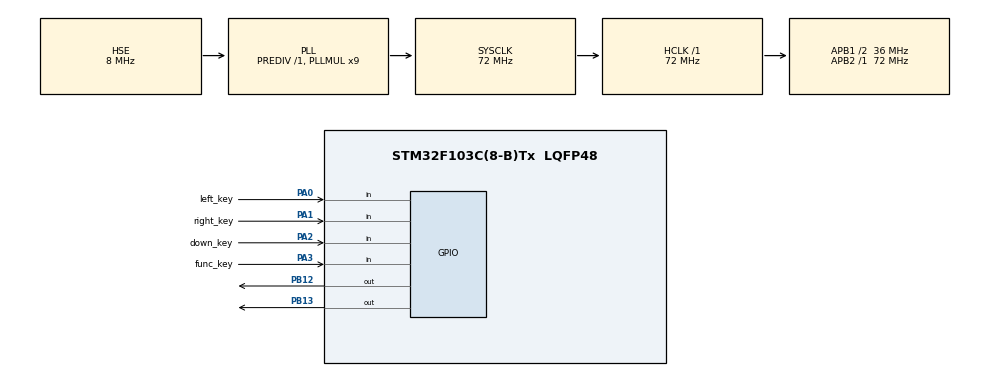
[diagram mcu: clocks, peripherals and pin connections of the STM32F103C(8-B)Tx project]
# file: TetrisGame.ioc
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Mcu.Family=STM32F1
Mcu.Name=STM32F103C(8-B)Tx
Mcu.Package=LQFP48
NVIC.PriorityGroup=NVIC_PRIORITYGROUP_4
PA0-WKUP.GPIO_Label=left_key
PA0-WKUP.GPIO_PuPd=GPIO_PULLUP
PA0-WKUP.Signal=GPIO_Input
PA1.GPIO_Label=right_key
PA1.GPIO_PuPd=GPIO_PULLUP
PA1.Signal=GPIO_Input
PA13.Mode=Serial_Wire
PA13.Signal=SYS_JTMS-SWDIO
PA14.Mode=Serial_Wire
PA14.Signal=SYS_JTCK-SWCLK
PA2.GPIO_Label=down_key
PA2.GPIO_PuPd=GPIO_PULLUP
PA2.Signal=GPIO_Input
PA3.GPIO_Label=func_key
PA3.Signal=GPIO_Input
PB12.Signal=GPIO_Output
PB13.Signal=GPIO_Output
PD0-OSC_IN.Mode=HSE-External-Oscillator
PD0-OSC_IN.Signal=RCC_OSC_IN
PD1-OSC_OUT.Mode=HSE-External-Oscillator
PD1-OSC_OUT.Signal=RCC_OSC_OUT
ProjectManager.HeapSize=0x200
ProjectManager.StackSize=0x400
ProjectManager.TargetToolchain=STM32CubeIDE
RCC.AHBFreq_Value=72000000
RCC.APB1CLKDivider=RCC_HCLK_DIV2
RCC.APB1Freq_Value=36000000
RCC.APB1TimFreq_Value=72000000
RCC.APB2Freq_Value=72000000
RCC.APB2TimFreq_Value=72000000
RCC.HCLKFreq_Value=72000000
RCC.PLLMUL=RCC_PLL_MUL9
RCC.PLLSourceVirtual=RCC_PLLSOURCE_HSE
RCC.SYSCLKFreq_VALUE=72000000
RCC.SYSCLKSource=RCC_SYSCLKSOURCE_PLLCLK
RCC.USBFreq_Value=72000000
board=custom

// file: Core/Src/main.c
/* USER CODE BEGIN Header */
/**
  ******************************************************************************
  * @file           : main.c
  * @brief          : Main program body

		����STM32�Ķ���˹������Ϸ

		1. ��Ƭ���ͺţ�STM32F103C8T6
		2. ��ʾ���ͺţ�0.96��OLED��SSD1306
		3. IO���ӹ�ϵ
		OLED SCL  ----  PB12
		OLED SDA  ----  PB13
		left      ----  PA0
		right     ----  PA1
		down      ----  PA2
		f         ----  PA3  (���ܰ�������ʼ��Ϸ������ת)

		4. ��ע Bվ�����������֡�΢�Ź��ں� ��JL��Ƭ���������Բ鿴����˹�������ʾЧ����
		5. ��ע Bվ�����������֡�΢�Ź��ں� ��JL��Ƭ��������ȡ������Ȥ�Ŀ�Դ��Ƭ�����롣

  ******************************************************************************
  * @attention
  *
  * Copyright (c) 2023 STMicroelectronics.
  * All rights reserved.
  *
  * This software is licensed under terms that can be found in the LICENSE file
  * in the root directory of this software component.
  * If no LICENSE file comes with this software, it is provided AS-IS.
  *
  ******************************************************************************
  */
/* USER CODE END Header */
#include "main.h"
#include "gpio.h"

/* USER CODE BEGIN Includes */
#include "oled12864.h"
#include "spritebank.h"
/* USER CODE END Includes */

void SystemClock_Config(void);

/* USER CODE BEGIN 0 */
// ===================================================================================
// Global Variables
// ===================================================================================
unsigned char Grid_TTRIS[12][3] = {{0}};
unsigned char MEM_TTTRIS[16] = {0, 2, 0, 4, 3, 7, 6, 9, 9, 12, 11, 15, 14, 17, 17, 19};
unsigned char Level_TTRIS;
unsigned int Scores_TTRIS;
unsigned int Nb_of_line_F_TTRIS;
unsigned char Level_Speed_ADJ_TTRIS;
unsigned char Nb_of_line_TTRIS[3];
unsigned char RND_VAR_TTRIS;
unsigned char LONG_PRESS_X_TTRIS;
unsigned char DOWN_DESACTIVE_TTRIS;
unsigned char DROP_SPEED_TTRIS;
unsigned char SPEED_x_trig_TTRIS;
unsigned char DROP_TRIG_TTRIS;
int xx_TTRIS, yy_TTRIS;
unsigned char Piece_Mat2_TTRIS[5][5];
unsigned char Ripple_filter_TTRIS;
unsigned char PIECEs_TTRIS;
unsigned char PIECEs_TTRIS_PREVIEW;
unsigned char PIECEs_rot_TTRIS;
unsigned char DROP_BREAK_TTRIS;
int OU_SUIS_JE_X_TTRIS;
int OU_SUIS_JE_Y_TTRIS;
unsigned char OU_SUIS_JE_X_ENGAGED_TTRIS;
unsigned char OU_SUIS_JE_Y_ENGAGED_TTRIS;
int DEPLACEMENT_XX_TTRIS;
int DEPLACEMENT_YY_TTRIS;

#define JOY_OLED_data_start(y)    {OLED_SetPos(0,y);OLED_data_start();}
#define JOY_OLED_send(b)          {IIC_WriteByte(b);IIC_WaitAck();}
#define JOY_OLED_end              IIC_Stop

// ===================================================================================
// Function Prototypes
// ===================================================================================
void reset_Score_TTRIS(void);
unsigned char PSEUDO_RND_TTRIS(void);
void SND_TTRIS(unsigned char Snd_TTRIS);
void INTRO_MANIFEST_TTRIS(void);
void END_DROP_TTRIS(void);
void SETUP_NEW_PREVIEW_PIECE_TTRIS(unsigned char *Rot_TTRIS);
void CONTROLE_TTRIS(unsigned char *Rot_TTRIS);
void Game_Play_TTRIS(void);
unsigned char End_Play_TTRIS(void);
void DELETE_LINE_TTRIS(void);
unsigned char Calcul_of_Score_TTRIS(unsigned char Tmp_TTRIS);
void FLASH_LINE_TTRIS(unsigned char *PASS_LINE);
void PAINT_LINE_TTRIS(unsigned char VISIBLE, unsigned char *PASS_LINE);
void Clean_Grid_TTRIS(unsigned char *PASS_LINE);
unsigned char CHECK_if_Rot_Ok_TTRIS(unsigned char *Rot_TTRIS);
unsigned char Check_collision_x_TTRIS(int x_Axe);
unsigned char Check_collision_y_TTRIS(int y_Axe);
void Move_Piece_TTRIS(void);
void Ou_suis_Je_TTRIS(int xx_, int yy_);
void Select_Piece_TTRIS(unsigned char Piece_);
void rotate_Matrix_TTRIS(unsigned char ROT);
unsigned char Scan_Piece_Matrix_TTRIS(int x_Mat, int y_Mat);
unsigned char GRID_STAT_TTRIS(int X_SCAN, int Y_SCAN);
unsigned char CHANGE_GRID_STAT_TTRIS(int X_SCAN, int Y_SCAN, unsigned char VALUE);
unsigned char blitzSprite_TTRIS(int xPos, int yPos, unsigned char xPASS, unsigned char yPASS, unsigned char FRAME, const unsigned char *SPRITES);
unsigned char H_grid_Scan_TTRIS(unsigned char xPASS);
unsigned char Recupe_TTRIS(unsigned char xPASS, unsigned char yPASS);
unsigned char NEXT_BLOCK_TTRIS(unsigned char xPASS, unsigned char yPASS);
unsigned char RECUPE_BACKGROUND_TTRIS(unsigned char xPASS, unsigned char yPASS);
unsigned char DropPiece_TTRIS(unsigned char xPASS, unsigned char yPASS);
unsigned char SplitSpriteDecalageY_TTRIS(unsigned char decalage, unsigned char Input, unsigned char UPorDOWN);
unsigned char RecupeLineY_TTRIS(unsigned char Valeur);
unsigned char RecupeDecalageY_TTRIS(unsigned char Valeur);
void Tiny_Flip_TTRIS(unsigned char HR_TTRIS);
void Flip_intro_TTRIS(unsigned char *TIMER1);
unsigned char intro_TTRIS(unsigned char xPASS, unsigned char yPASS, unsigned char *TIMER1);
unsigned char Recupe_Start_TTRIS(unsigned char xPASS, unsigned char yPASS, unsigned char *TIMER1);
unsigned char recupe_Chateau_TTRIS(unsigned char xPASS, unsigned char yPASS);
unsigned char recupe_SCORES_TTRIS(unsigned char xPASS, unsigned char yPASS);
void Convert_Nb_of_line_TTRIS(void);
unsigned char recupe_Nb_of_line_TTRIS(unsigned char xPASS, unsigned char yPASS);
unsigned char recupe_LEVEL_TTRIS(unsigned char xPASS, unsigned char yPASS);
void INIT_ALL_VAR_TTRIS(void);
void recupe_HIGHSCORE_TTRIS(void);
void Reset_Value_TTRIS(void);
void save_HIGHSCORE_TTRIS(void);
void Check_NEW_RECORD(void);
unsigned char checksum(unsigned char Byte_);

void JOY_DLY_ms(int ms)
{
	HAL_Delay(ms);
}

unsigned char JOY_act_pressed()
{
	if(HAL_GPIO_ReadPin(func_key_GPIO_Port, func_key_Pin)==0)
		return 1;
	return 0;
}

unsigned char JOY_left_pressed()
{
	if(HAL_GPIO_ReadPin(left_key_GPIO_Port, left_key_Pin)==0)
	{
		HAL_Delay(5);
		if(HAL_GPIO_ReadPin(left_key_GPIO_Port, left_key_Pin)==0) return 1;
	}

	return 0;
}

unsigned char JOY_right_pressed()
{
	if(HAL_GPIO_ReadPin(right_key_GPIO_Port, right_key_Pin)==0)
	{
		HAL_Delay(5);
		if(HAL_GPIO_ReadPin(right_key_GPIO_Port, right_key_Pin)==0)  return 1;
	}

	return 0;
}

unsigned char JOY_act_released()
{

	if(HAL_GPIO_ReadPin(func_key_GPIO_Port, func_key_Pin)==0)
		return 0;
	return 1;

}

unsigned char JOY_down_pressed()
{
	if(HAL_GPIO_ReadPin(down_key_GPIO_Port, down_key_Pin)==0)
		return 1;
	return 0;
}

// Additional Defines
#define abs(n) ((n>=0)?(n):(-(n)))

long map(long x, long in_min, long in_max, long out_min, long out_max) {
  return (x - in_min) * (out_max - out_min) / (in_max - in_min) + out_min;
}
/* USER CODE END 0 */

int main(void)
{

  /* MCU Configuration--------------------------------------------------------*/

  /* Reset of all peripherals, Initializes the Flash interface and the Systick. */
  HAL_Init();

  /* Configure the system clock */
  SystemClock_Config();

  /* Initialize all configured peripherals */
  MX_GPIO_Init();
  /* USER CODE BEGIN 2 */
	OLED_Init();
	Reset_Value_TTRIS();

  /* USER CODE END 2 */

  /* Infinite loop */
  /* USER CODE BEGIN WHILE */
  while (1)
  {
    unsigned char Rot_TTRIS = 0;
    unsigned char SKIP_FRAME = 0;
    INIT_ALL_VAR_TTRIS();
    Game_Play_TTRIS();
    Ou_suis_Je_TTRIS(xx_TTRIS, yy_TTRIS);

    INTRO_MANIFEST_TTRIS();

    SETUP_NEW_PREVIEW_PIECE_TTRIS(&Rot_TTRIS);
    Tiny_Flip_TTRIS(128);
    JOY_DLY_ms(1000);
    xx_TTRIS = 55;
    yy_TTRIS = 5;

    while (1)
    {
			// 在此处添加代码以设置PA7为高电平
			HAL_GPIO_WritePin(GPIOA, GPIO_PIN_7, GPIO_PIN_SET);
      CONTROLE_TTRIS(&Rot_TTRIS);
      if (DROP_BREAK_TTRIS == 6)
      {
        END_DROP_TTRIS();
        if (End_Play_TTRIS())
        {
          Tiny_Flip_TTRIS(128);
          SND_TTRIS(3);
          JOY_DLY_ms(2000);
          Check_NEW_RECORD();
          break;
        }
        yy_TTRIS = 2;
        xx_TTRIS = 55;
        PIECEs_TTRIS = PIECEs_TTRIS_PREVIEW;
        SETUP_NEW_PREVIEW_PIECE_TTRIS(&Rot_TTRIS);
        DOWN_DESACTIVE_TTRIS = 1;
        Tiny_Flip_TTRIS(128);
        Game_Play_TTRIS();
        Tiny_Flip_TTRIS(128);
      }

      if ((JOY_act_pressed()) && (Ripple_filter_TTRIS == 0))
      {
        PSEUDO_RND_TTRIS();
        Ripple_filter_TTRIS = 1;
      }

      Move_Piece_TTRIS();
      if (SKIP_FRAME == 6)
      {
        Tiny_Flip_TTRIS(82);
        SKIP_FRAME = 0;
      }
      else
      {
        SKIP_FRAME++;
      }
    }
    /* USER CODE END WHILE */

  }
}

void SystemClock_Config(void)
{
  RCC_OscInitTypeDef RCC_OscInitStruct = {0};
  RCC_ClkInitTypeDef RCC_ClkInitStruct = {0};

  /** Initializes the RCC Oscillators according to the specified parameters
  * in the RCC_OscInitTypeDef structure.
  */
  RCC_OscInitStruct.OscillatorType = RCC_OSCILLATORTYPE_HSE;
  RCC_OscInitStruct.HSEState = RCC_HSE_ON;
  RCC_OscInitStruct.HSEPredivValue = RCC_HSE_PREDIV_DIV1;
  RCC_OscInitStruct.HSIState = RCC_HSI_ON;
  RCC_OscInitStruct.PLL.PLLState = RCC_PLL_ON;
  RCC_OscInitStruct.PLL.PLLSource = RCC_PLLSOURCE_HSE;
  RCC_OscInitStruct.PLL.PLLMUL = RCC_PLL_MUL9;
  if (HAL_RCC_OscConfig(&RCC_OscInitStruct) != HAL_OK)
  {
    Error_Handler();
  }

  /** Initializes the CPU, AHB and APB buses clocks
  */
  RCC_ClkInitStruct.ClockType = RCC_CLOCKTYPE_HCLK|RCC_CLOCKTYPE_SYSCLK
                              |RCC_CLOCKTYPE_PCLK1|RCC_CLOCKTYPE_PCLK2;
  RCC_ClkInitStruct.SYSCLKSource = RCC_SYSCLKSOURCE_PLLCLK;
  RCC_ClkInitStruct.AHBCLKDivider = RCC_SYSCLK_DIV1;
  RCC_ClkInitStruct.APB1CLKDivider = RCC_HCLK_DIV2;
  RCC_ClkInitStruct.APB2CLKDivider = RCC_HCLK_DIV1;

  if (HAL_RCC_ClockConfig(&RCC_ClkInitStruct, FLASH_LATENCY_2) != HAL_OK)
  {
    Error_Handler();
  }
}

/* USER CODE BEGIN 4 */
// ===================================================================================
// Functions
// ===================================================================================
void reset_Score_TTRIS(void)
{
	unsigned char x = 0;
  for (x = 0; x < 3; x++)
  {
    Nb_of_line_TTRIS[x] = 0;
  }
  Level_TTRIS = 0;
  Scores_TTRIS = 0;
  Nb_of_line_F_TTRIS = 0;
}

unsigned char PSEUDO_RND_TTRIS(void)
{
  RND_VAR_TTRIS = (RND_VAR_TTRIS < 6) ? RND_VAR_TTRIS + 1 : 0;
  return RND_VAR_TTRIS;
}

void SND_TTRIS(unsigned char Snd_TTRIS)
{

}

void INTRO_MANIFEST_TTRIS(void)
{
  unsigned char TIMER_1 = 0;
  recupe_HIGHSCORE_TTRIS();
  Convert_Nb_of_line_TTRIS();
  Flip_intro_TTRIS(&TIMER_1);
  while (1)
  {
    PIECEs_TTRIS = PSEUDO_RND_TTRIS();
    if (JOY_act_pressed())
    {
      reset_Score_TTRIS();
      break;
    }
    JOY_DLY_ms(33);
    TIMER_1 = (TIMER_1 < 7) ? TIMER_1 + 1 : 0;
    Flip_intro_TTRIS(&TIMER_1);
  }
  SND_TTRIS(4);
}

void END_DROP_TTRIS(void)
{
  unsigned char x, y;
  DROP_BREAK_TTRIS = 0;
  for (y = 0; y < 5; y++)
  {
    for (x = 0; x < 5; x++)
    {
      if (Piece_Mat2_TTRIS[x][y] == 1)
      {
        CHANGE_GRID_STAT_TTRIS(OU_SUIS_JE_X_TTRIS + (x), OU_SUIS_JE_Y_TTRIS + (y), 1);
      }
    }
  }
  Scores_TTRIS = (OU_SUIS_JE_Y_TTRIS < 9) ? Scores_TTRIS + 2 : Scores_TTRIS + 1;
  yy_TTRIS = 0;
  xx_TTRIS = 0;
  DELETE_LINE_TTRIS();
  Convert_Nb_of_line_TTRIS();
}

void SETUP_NEW_PREVIEW_PIECE_TTRIS(unsigned char *Rot_TTRIS)
{
  PIECEs_TTRIS_PREVIEW = PSEUDO_RND_TTRIS();
  Select_Piece_TTRIS(PIECEs_TTRIS);
  *Rot_TTRIS = 0;
  rotate_Matrix_TTRIS(*Rot_TTRIS);
}

void CONTROLE_TTRIS(unsigned char *Rot_TTRIS)
{
  if ((OU_SUIS_JE_X_ENGAGED_TTRIS == 0))
  {
    if (SPEED_x_trig_TTRIS == 0)
    {
      if (JOY_right_pressed())
      {
        if (LONG_PRESS_X_TTRIS == 0)
        {
          SND_TTRIS(1);
        }
        if ((LONG_PRESS_X_TTRIS == 0) || (LONG_PRESS_X_TTRIS == 20))
        {
          DEPLACEMENT_XX_TTRIS = 1;
          SPEED_x_trig_TTRIS = 2;
        }
        if (LONG_PRESS_X_TTRIS < 20)
        {
          LONG_PRESS_X_TTRIS++;
        }
      }
      if (JOY_left_pressed())
      {
        if (LONG_PRESS_X_TTRIS == 0)
        {
          SND_TTRIS(1);
        }
        if ((LONG_PRESS_X_TTRIS == 0) || (LONG_PRESS_X_TTRIS == 20))
        {
          DEPLACEMENT_XX_TTRIS = -1;
          SPEED_x_trig_TTRIS = 2;
        }
        if (LONG_PRESS_X_TTRIS < 20)
        {
          LONG_PRESS_X_TTRIS++;
        }
      }
    }
    else
    {
      SPEED_x_trig_TTRIS = (SPEED_x_trig_TTRIS > 0) ? SPEED_x_trig_TTRIS - 1 : 0;
    }
  }
  if ((JOY_right_pressed() == 0) && (JOY_left_pressed() == 0))
  {
    LONG_PRESS_X_TTRIS = 0;
    PSEUDO_RND_TTRIS();
  }

  if (JOY_act_released())
  {
    if ((OU_SUIS_JE_X_ENGAGED_TTRIS == 0) && (OU_SUIS_JE_Y_ENGAGED_TTRIS == 0))
    {
      Ripple_filter_TTRIS = 0;
    }
  }
  if ((Ripple_filter_TTRIS == 1))
  {
    CHECK_if_Rot_Ok_TTRIS(Rot_TTRIS);
    Ripple_filter_TTRIS = 2;
  }
  if (OU_SUIS_JE_Y_ENGAGED_TTRIS == 0)
  {
    DROP_TRIG_TTRIS--;
    if (DROP_TRIG_TTRIS == 0)
    {
      DEPLACEMENT_YY_TTRIS = 1;
      DROP_TRIG_TTRIS = Level_Speed_ADJ_TTRIS;
    }
  }
  if (DROP_SPEED_TTRIS > 0)
  {
    DROP_SPEED_TTRIS--;
  }
  else
  {
    DROP_SPEED_TTRIS = Level_Speed_ADJ_TTRIS;
  }
  if (JOY_down_pressed())
  {

    // ajouter cest 2 ligne
    if (OU_SUIS_JE_X_ENGAGED_TTRIS == 0)
    {
      DEPLACEMENT_XX_TTRIS = 0;
      LONG_PRESS_X_TTRIS = 1;
    } // ajouter cest 2 ligne

    PSEUDO_RND_TTRIS();
    if (DOWN_DESACTIVE_TTRIS == 0)
    {
      DEPLACEMENT_YY_TTRIS = 1;
      DROP_SPEED_TTRIS = 0;
    }
  }
  else
  {
    DOWN_DESACTIVE_TTRIS = 0;
  }
}

void Game_Play_TTRIS(void)
{
  unsigned char LEVEL_TMP = (Nb_of_line_F_TTRIS / 20);
  if (Level_TTRIS != LEVEL_TMP)
  {
    Level_TTRIS = LEVEL_TMP;
    SND_TTRIS(2);
  }
  if (Level_TTRIS < 21)
  {
    Level_Speed_ADJ_TTRIS = map(Level_TTRIS, 0, 20, 11, 1);
  }
}

unsigned char End_Play_TTRIS(void)
{
	unsigned char t = 0;
  for (t = 0; t < 12; t++)
  {
    if (GRID_STAT_TTRIS(t, 1) == 1)
    {
      return 1;
    }
  }
  return 0;
}

void DELETE_LINE_TTRIS(void)
{
  unsigned char LOOP, SCAN_Line, ADDs_Block, OK_DELETE = 0;
  unsigned char LINE_MEM[19] = {0};
  unsigned char Nb_of_Line_temp = 0;
  for (LOOP = 0; LOOP < 19; LOOP++)
  {
    ADDs_Block = 1;
    for (SCAN_Line = 0; SCAN_Line < 12; SCAN_Line++)
    {
      if (GRID_STAT_TTRIS(SCAN_Line, LOOP) == 0)
      {
        ADDs_Block = 0;
      }
    }
    if (ADDs_Block)
    {
      LINE_MEM[LOOP] = 1;
      OK_DELETE = 1;
    }
  }
  if (OK_DELETE == 1)
  {
    FLASH_LINE_TTRIS(&LINE_MEM[0]);
    Clean_Grid_TTRIS(&LINE_MEM[0]);
  }
  for (LOOP = 0; LOOP < 19; LOOP++)
  {
    if (LINE_MEM[LOOP] == 1)
    {
      Nb_of_Line_temp++;
    }
  }
  Nb_of_line_F_TTRIS = Nb_of_line_F_TTRIS + Nb_of_Line_temp;
  Scores_TTRIS = (Scores_TTRIS + Calcul_of_Score_TTRIS(Nb_of_Line_temp));
}

unsigned char Calcul_of_Score_TTRIS(unsigned char Tmp_TTRIS)
{
  switch (Tmp_TTRIS)
  {
  case 0:
    return 0;
    break;
  case 1:
    return 2;
    break;
  case 2:
    return 5;
    break;
  case 3:
    return 8;
    break;
  case 4:
    return 12;
    break;
  default:
    return 0;
    break;
  }
}

void FLASH_LINE_TTRIS(unsigned char *PASS_LINE)
{
  unsigned char LOOP;
  for (LOOP = 0; LOOP < 5; LOOP++)
  {
    PAINT_LINE_TTRIS(1, &PASS_LINE[0]);
    Tiny_Flip_TTRIS(82);

    PAINT_LINE_TTRIS(0, &PASS_LINE[0]);
    Tiny_Flip_TTRIS(82);
  }
  SND_TTRIS(5);
}

void PAINT_LINE_TTRIS(unsigned char VISIBLE, unsigned char *PASS_LINE)
{
  unsigned char LOOP, SCAN_Line;
  for (LOOP = 0; LOOP < 19; LOOP++)
  {
    if (PASS_LINE[LOOP] == 1)
    {
      for (SCAN_Line = 0; SCAN_Line < 12; SCAN_Line++)
      {
        CHANGE_GRID_STAT_TTRIS(SCAN_Line, LOOP, VISIBLE);
      }
    }
  }
}

void Clean_Grid_TTRIS(unsigned char *PASS_LINE)
{
  unsigned char GRID_2 = 18, GRID_1 = 18;
  unsigned char x;
  while (1)
  {
    if (PASS_LINE[GRID_1] == 1)
    {
      GRID_2 = GRID_1;
      GRID_2 = (GRID_2 > 0) ? GRID_2 - 1 : 0;
      break;
    }
    GRID_1 = (GRID_1 > 0) ? GRID_1 - 1 : 0;
  }
  while (1)
  {
    while (1)
    {
      if (PASS_LINE[GRID_2] == 1)
      {
        GRID_2 = (GRID_2 > 0) ? GRID_2 - 1 : 0;
      }
      else
      {
        break;
      }
    }
    for (x = 0; x < 12; x++)
    {
      CHANGE_GRID_STAT_TTRIS(x, GRID_1, (GRID_2 > 0) ? GRID_STAT_TTRIS(x, GRID_2) : 0);
    }
    GRID_1 = (GRID_1 > 0) ? GRID_1 - 1 : 0;
    GRID_2 = (GRID_2 > 0) ? GRID_2 - 1 : 0;
    if (GRID_1 == 0)
    {
      break;
    }
  }
}

unsigned char CHECK_if_Rot_Ok_TTRIS(unsigned char *Rot_TTRIS)
{
  unsigned char Mem_rot = *Rot_TTRIS;
  Ou_suis_Je_TTRIS(xx_TTRIS, yy_TTRIS);
  *Rot_TTRIS = (*Rot_TTRIS < PIECEs_rot_TTRIS) ? *Rot_TTRIS + 1 : 0;
  rotate_Matrix_TTRIS(*Rot_TTRIS);

  if ((Check_collision_x_TTRIS(OU_SUIS_JE_X_ENGAGED_TTRIS) || (Check_collision_y_TTRIS(OU_SUIS_JE_Y_ENGAGED_TTRIS))) != 0)
  {
    *Rot_TTRIS = Mem_rot;
    rotate_Matrix_TTRIS(*Rot_TTRIS);
    return 1;
  }
  SND_TTRIS(0);
  return 0;
}

unsigned char Check_collision_x_TTRIS(int x_Axe)
{
  unsigned char x, y;
  for (y = 0; y < 5; y++)
  {
    for (x = 0; x < 5; x++)
    {
      if (Piece_Mat2_TTRIS[x][y] == 1)
      {
        if (GRID_STAT_TTRIS((x + OU_SUIS_JE_X_TTRIS) + x_Axe, y + OU_SUIS_JE_Y_TTRIS))
        {
          return 1;
        }
      }
    }
  }
  return 0;
}

unsigned char Check_collision_y_TTRIS(int y_Axe)
{
  unsigned char x, y;
  for (y = 0; y < 5; y++)
  {
    for (x = 0; x < 5; x++)
    {
      if (Piece_Mat2_TTRIS[x][y] == 1)
      {
        if (GRID_STAT_TTRIS(x + OU_SUIS_JE_X_TTRIS, (y + OU_SUIS_JE_Y_TTRIS) + y_Axe))
        {
          return 1;
        }
      }
    }
  }
  return 0;
}

void Move_Piece_TTRIS(void)
{
  Ou_suis_Je_TTRIS(xx_TTRIS, yy_TTRIS);
  if (OU_SUIS_JE_X_ENGAGED_TTRIS == 0)
  {
    if (Check_collision_x_TTRIS(DEPLACEMENT_XX_TTRIS))
    {
      DEPLACEMENT_XX_TTRIS = 0;
    }
  }
  if (DEPLACEMENT_XX_TTRIS == 1)
  {
    xx_TTRIS++;
  }
  if (DEPLACEMENT_XX_TTRIS == -1)
  {
    xx_TTRIS--;
  }
  Ou_suis_Je_TTRIS(xx_TTRIS, yy_TTRIS);
  if (OU_SUIS_JE_X_ENGAGED_TTRIS == 0)
  {
    DEPLACEMENT_XX_TTRIS = 0;
  }

  if (Check_collision_y_TTRIS(DEPLACEMENT_YY_TTRIS))
  {
    DEPLACEMENT_YY_TTRIS = 0;
    LONG_PRESS_X_TTRIS = 0;
    Ripple_filter_TTRIS = 0;
    DROP_BREAK_TTRIS = 6;
    Tiny_Flip_TTRIS(82); // add line for refresh screen at drop
  }
  else
  {
    DROP_BREAK_TTRIS = 0;
  }
  if (DROP_SPEED_TTRIS == 0)
  {
    if (DEPLACEMENT_YY_TTRIS == -1)
    {
      yy_TTRIS--;
    }
    if (DEPLACEMENT_YY_TTRIS == 1)
    {
      yy_TTRIS++;
    }
  }
  Ou_suis_Je_TTRIS(xx_TTRIS, yy_TTRIS);
  if (OU_SUIS_JE_Y_ENGAGED_TTRIS == 0)
  {
    DEPLACEMENT_YY_TTRIS = 0;
  }
}

void Ou_suis_Je_TTRIS(int xx_, int yy_)
{
  int xx_t, yy_t;
  xx_t = (((xx_) + 9) - 46);
  yy_t = (((yy_) + 9) - 5);
  OU_SUIS_JE_X_TTRIS = ((xx_t / 3) - 3);
  if ((xx_t % 3) != 0)
  {
    OU_SUIS_JE_X_ENGAGED_TTRIS = 1;
  }
  else
  {
    OU_SUIS_JE_X_ENGAGED_TTRIS = 0;
  }
  OU_SUIS_JE_Y_TTRIS = ((yy_t / 3) - 3);
  if ((yy_t) != ((OU_SUIS_JE_Y_TTRIS + 3) * 3))
  {
    OU_SUIS_JE_Y_ENGAGED_TTRIS = 1;
  }
  else
  {
    OU_SUIS_JE_Y_ENGAGED_TTRIS = 0;
  }
}

void Select_Piece_TTRIS(unsigned char Piece_)
{
  PIECEs_TTRIS = Piece_;
  switch (Piece_)
  {
  case 0:
    PIECEs_rot_TTRIS = 3;
    break;
  case 1:
    PIECEs_rot_TTRIS = 0;
    break;
  case 2:
  case 3:
  case 4:
    PIECEs_rot_TTRIS = 1;
    break;
  case 5:
  case 6:
    PIECEs_rot_TTRIS = 3;
    break;
  default:
    PIECEs_rot_TTRIS = 0;
    break;
  }
}

void rotate_Matrix_TTRIS(unsigned char ROT)
{
  unsigned char a_ = 0, b_ = 0, y, x;
  for (y = 0; y < 5; y++)
  {
    for (x = 0; x < 5; x++)
    {
      switch (ROT)
      {
      case 0:
        a_ = x, b_ = y;
        break;
      case 1:
        a_ = 4 - y, b_ = x;
        break;
      case 2:
        a_ = 4 - x, b_ = 4 - y;
        break;
      case 3:
        a_ = y, b_ = 4 - x;
        break;
      default:
        break;
      }
      Piece_Mat2_TTRIS[a_][b_] = Scan_Piece_Matrix_TTRIS(x, y + (PIECEs_TTRIS * 5));
    }
  }
}

unsigned char Scan_Piece_Matrix_TTRIS(int x_Mat, int y_Mat)
{
  // unsigned char Result = (0b10000000 >> x_Mat) & (Pieces_TTRIS1[y_Mat]);
	unsigned char Result;
	Result = (0x80 >> x_Mat) & (Pieces_TTRIS1[y_Mat]);
  if (Result)
  {
    return 1;
  }
  else
  {
    return 0;
  }
  return 0;
}

unsigned char GRID_STAT_TTRIS(int X_SCAN, int Y_SCAN)
{
	unsigned char Y_VAR_SELECT, Y_VAR_DECALAGE, COMP_BYTE_DECALAGE;
  if (Y_SCAN < 0)
    return 0;
  if ((X_SCAN < 0) || (X_SCAN > 11))
  {
    return 1;
  }
  if (Y_SCAN > 18)
  {
    return 1;
  }
  Y_VAR_SELECT = Y_SCAN >> 3;
  Y_VAR_DECALAGE = RecupeDecalageY_TTRIS(Y_SCAN);
  COMP_BYTE_DECALAGE = (0x80 >> Y_VAR_DECALAGE);
	// COMP_BYTE_DECALAGE = (0b10000000 >> Y_VAR_DECALAGE);
  if ((COMP_BYTE_DECALAGE & Grid_TTRIS[X_SCAN][Y_VAR_SELECT]) == 0)
  {
    return 0;
  }
  else
  {
    return 1;
  }
  return 0;
}

unsigned char CHANGE_GRID_STAT_TTRIS(int X_SCAN, int Y_SCAN, unsigned char VALUE)
{

	unsigned char Y_VAR_SELECT, Y_VAR_DECALAGE, COMP_BYTE_DECALAGE;
  if ((X_SCAN < 0) || (X_SCAN > 11))
    return 0;
  if ((Y_SCAN < 0) || (Y_SCAN > 18))
    return 0;
  Y_VAR_SELECT = Y_SCAN >> 3;
  Y_VAR_DECALAGE = RecupeDecalageY_TTRIS(Y_SCAN);
  COMP_BYTE_DECALAGE = (0x80 >> Y_VAR_DECALAGE);
	//COMP_BYTE_DECALAGE = (0b10000000 >> Y_VAR_DECALAGE);
  if (VALUE)
  {
    Grid_TTRIS[X_SCAN][Y_VAR_SELECT] = COMP_BYTE_DECALAGE | Grid_TTRIS[X_SCAN][Y_VAR_SELECT];
  }
  else
  {
    Grid_TTRIS[X_SCAN][Y_VAR_SELECT] = (0xff - COMP_BYTE_DECALAGE) & Grid_TTRIS[X_SCAN][Y_VAR_SELECT];
  }
  return 0;
}

unsigned char blitzSprite_TTRIS(int xPos, int yPos, unsigned char xPASS, unsigned char yPASS, unsigned char FRAME, const unsigned char *SPRITES)
{
  unsigned char OUTBYTE, WSPRITE, HSPRITE, Wmax, RECUPELINEY, SPRITEyLINE, SPRITEyDECALAGE, ScanA, ScanB, OUTBYTE2;
	unsigned int PICBYTE;
  WSPRITE = ((SPRITES[0]));
  HSPRITE = ((SPRITES[1]));
  Wmax = ((HSPRITE * WSPRITE) + 1);
  PICBYTE = FRAME * (Wmax - 1);
  RECUPELINEY = RecupeLineY_TTRIS(yPos);
  if ((xPASS > ((xPos + (WSPRITE - 1)))) || (xPASS < xPos) || ((RECUPELINEY > yPASS) || ((RECUPELINEY + (HSPRITE)) < yPASS)))
  {
    return 0x00;
  }
  SPRITEyLINE = (yPASS - (RECUPELINEY));
  SPRITEyDECALAGE = (RecupeDecalageY_TTRIS(yPos));
  ScanA = (((xPASS - xPos) + (SPRITEyLINE * WSPRITE)) + 2);
  ScanB = (((xPASS - xPos) + ((SPRITEyLINE - 1) * WSPRITE)) + 2);
  if (ScanA > Wmax)
  {
    OUTBYTE = 0x00;
  }
  else
  {
    OUTBYTE = SplitSpriteDecalageY_TTRIS(SPRITEyDECALAGE, (SPRITES[ScanA + (PICBYTE)]), 1);
  }
  if ((SPRITEyLINE > 0))
  {
    OUTBYTE2 = SplitSpriteDecalageY_TTRIS(SPRITEyDECALAGE, (SPRITES[ScanB + (PICBYTE)]), 0);
    if (ScanB > Wmax)
    {
      return OUTBYTE;
    }
    else
    {
      return OUTBYTE | OUTBYTE2;
    }
  }
  else
  {
    return OUTBYTE;
  }
}

unsigned char H_grid_Scan_TTRIS(unsigned char xPASS)
{
  return (H_Grid_TTTRIS[xPASS - 46]);
}

unsigned char Recupe_TTRIS(unsigned char xPASS, unsigned char yPASS)
{
  unsigned char BYTE_TTRIS = 0;
  unsigned char x = 0, y;
  for ( y = MEM_TTTRIS[(yPASS << 1)]; y < MEM_TTTRIS[(yPASS << 1) + 1]; y++)
  {
    if ((xPASS > 45) && (xPASS < 82))
    {
      x = H_grid_Scan_TTRIS(xPASS);
    }
    else
    {
      return (RECUPE_BACKGROUND_TTRIS(xPASS, yPASS) |
              NEXT_BLOCK_TTRIS(xPASS, yPASS) |
              recupe_Nb_of_line_TTRIS(xPASS, yPASS) |
              recupe_SCORES_TTRIS(xPASS, yPASS) |
              recupe_LEVEL_TTRIS(xPASS, yPASS));
    }
    if (GRID_STAT_TTRIS(x, y) == 1)
    {
      BYTE_TTRIS = BYTE_TTRIS | blitzSprite_TTRIS(46 + (x * 3), 5 + (y * 3), xPASS, yPASS, 0, tinyblock_TTTRIS);
    }
  }
  return RECUPE_BACKGROUND_TTRIS(xPASS, yPASS) | BYTE_TTRIS | DropPiece_TTRIS(xPASS, yPASS);
}

unsigned char NEXT_BLOCK_TTRIS(unsigned char xPASS, unsigned char yPASS)
{
	unsigned char y = 0, x =0;
  if (xPASS > 89)
  {
    unsigned char Byte_Mem = 0;
    unsigned char x_add = 0;
    unsigned char y_add = 0;
    switch (PIECEs_TTRIS_PREVIEW)
    {
    case 0:
      x_add = 1;
      y_add = 1;
      break;
    case 1:
      y_add = -1;
      break;
    case 2:
      x_add = 1;
      break;
    case 3:
      break;
    case 4:
      x_add = 1;
      y_add = 1;
      break;
    case 5:
      x_add = 1;
      break;
    case 6:
      break;
    default:
      break;
    }

    for (y = 0; y < 5; y++)
    {
      for (x = 0; x < 5; x++)
      {
        if (Scan_Piece_Matrix_TTRIS(x, y + (PIECEs_TTRIS_PREVIEW * 5)) == 1)
        {
          Byte_Mem |= blitzSprite_TTRIS(92 + (x * 2) + x_add, (27 + (y * 2)) - 5 + y_add, xPASS, yPASS, 0, tiny_PREVIEW_block_TTTRIS);
        }
      }
    }
    return Byte_Mem;
  }
  return 0;
}

unsigned char RECUPE_BACKGROUND_TTRIS(unsigned char xPASS, unsigned char yPASS)
{
  return (BACKGROUND_TTRIS[xPASS + (yPASS * 128)]);
}

unsigned char DropPiece_TTRIS(unsigned char xPASS, unsigned char yPASS)
{
  unsigned char Byte_Mem = 0, y=0, x=0;
  for (y = 0; y < 5; y++)
  {
    for (x = 0; x < 5; x++)
    {
      if (Piece_Mat2_TTRIS[x][y] == 1)
      {
        Byte_Mem |= blitzSprite_TTRIS(xx_TTRIS + (x * 3), (yy_TTRIS + (y * 3)) - 5, xPASS, yPASS, 0, tinyblock2_TTTRIS);
      }
    }
  }
  return Byte_Mem;
}

unsigned char SplitSpriteDecalageY_TTRIS(unsigned char decalage, unsigned char Input, unsigned char UPorDOWN)
{
  if (UPorDOWN)
  {
    return Input << decalage;
  }
  return Input >> (8 - decalage);
}

unsigned char RecupeLineY_TTRIS(unsigned char Valeur)
{
  return (Valeur >> 3);
}

unsigned char RecupeDecalageY_TTRIS(unsigned char Valeur)
{
  return (Valeur - ((Valeur >> 3) << 3));
}

void Tiny_Flip_TTRIS(unsigned char HR_TTRIS)
{
  unsigned char y, x;
  for (y = 0; y < 8; y++)
  {
		JOY_OLED_data_start(y);
    for (x = 0; x < HR_TTRIS; x++)
    {
			JOY_OLED_send(Recupe_TTRIS(x, y));
    }
    JOY_OLED_end();
  }
}

void Flip_intro_TTRIS(unsigned char *TIMER1)
{
  unsigned char y, x;
  for (y = 0; y < 8; y++)
  {
		JOY_OLED_data_start(y);
    for (x = 0; x < 128; x++)
    {
			JOY_OLED_send(intro_TTRIS(x, y, TIMER1));
    }
    JOY_OLED_end();
  }
}

unsigned char intro_TTRIS(unsigned char xPASS, unsigned char yPASS, unsigned char *TIMER1)
{
  return (RECUPE_BACKGROUND_TTRIS(xPASS, yPASS) |
          recupe_Chateau_TTRIS(xPASS, yPASS) |
          Recupe_Start_TTRIS(xPASS, yPASS, TIMER1) |
          recupe_SCORES_TTRIS(xPASS, yPASS) |
          recupe_Nb_of_line_TTRIS(xPASS, yPASS) |
          recupe_SCORES_TTRIS(xPASS, yPASS) |
          recupe_LEVEL_TTRIS(xPASS, yPASS));
}

unsigned char Recupe_Start_TTRIS(unsigned char xPASS, unsigned char yPASS, unsigned char *TIMER1)
{
  if (*TIMER1 > 3)
  {
    return blitzSprite_TTRIS(49, 28, xPASS, yPASS, 0, start_button_1_TTRIS) | blitzSprite_TTRIS(49, 36, xPASS, yPASS, 0, start_button_2_TTRIS);
  }
  else
  {
    return 0;
  }
}

unsigned char recupe_Chateau_TTRIS(unsigned char xPASS, unsigned char yPASS)
{
  if (xPASS < 46)
    return 0;
  if (xPASS > 81)
    return 0;
  return (chateau_TTRIS[(xPASS - 46) + (yPASS * 36)]);
}

unsigned char recupe_SCORES_TTRIS(unsigned char xPASS, unsigned char yPASS)
{
  if (xPASS < 95)
  {
    return 0;
  }
  if (xPASS > 119)
  {
    return 0;
  }
  if (yPASS > 1)
  {
    return 0;
  }
#define M10000 (Scores_TTRIS / 10000)
#define M1000 (((Scores_TTRIS) - (M10000 * 10000)) / 1000)
#define M100 (((Scores_TTRIS) - (M1000 * 1000) - (M10000 * 10000)) / 100)
#define M10 (((Scores_TTRIS) - (M100 * 100) - (M1000 * 1000) - (M10000 * 10000)) / 10)
#define M1 ((Scores_TTRIS) - (M10 * 10) - (M100 * 100) - (M1000 * 1000) - (M10000 * 10000))
  return (blitzSprite_TTRIS(95, 8, xPASS, yPASS, M10000, police_TTRIS) |
          blitzSprite_TTRIS(99, 8, xPASS, yPASS, M1000, police_TTRIS) |
          blitzSprite_TTRIS(103, 8, xPASS, yPASS, M100, police_TTRIS) |
          blitzSprite_TTRIS(107, 8, xPASS, yPASS, M10, police_TTRIS) |
          blitzSprite_TTRIS(111, 8, xPASS, yPASS, M1, police_TTRIS) |
          blitzSprite_TTRIS(115, 8, xPASS, yPASS, 0, police_TTRIS));
}

void Convert_Nb_of_line_TTRIS(void)
{
  Nb_of_line_TTRIS[2] = (Nb_of_line_F_TTRIS / 100);
  Nb_of_line_TTRIS[1] = ((Nb_of_line_F_TTRIS - (Nb_of_line_TTRIS[2] * 100)) / 10);
  Nb_of_line_TTRIS[0] = (Nb_of_line_F_TTRIS - (Nb_of_line_TTRIS[2] * 100) - (Nb_of_line_TTRIS[1] * 10));
}

unsigned char recupe_Nb_of_line_TTRIS(unsigned char xPASS, unsigned char yPASS)
{
  if (xPASS < 16)
  {
    return 0;
  }
  if (xPASS > 28)
  {
    return 0;
  }
  if (yPASS > 1)
  {
    return 0;
  }
  return (blitzSprite_TTRIS(16, 8, xPASS, yPASS, Nb_of_line_TTRIS[2], police_TTRIS) |
          blitzSprite_TTRIS(20, 8, xPASS, yPASS, Nb_of_line_TTRIS[1], police_TTRIS) |
          blitzSprite_TTRIS(24, 8, xPASS, yPASS, Nb_of_line_TTRIS[0], police_TTRIS));
}

unsigned char recupe_LEVEL_TTRIS(unsigned char xPASS, unsigned char yPASS)
{
  if (xPASS < 109)
  {
    return 0;
  }
  if (xPASS > 118)
  {
    return 0;
  }
  if (yPASS != 5)
  {
    return 0;
  }
  return (blitzSprite_TTRIS(109, 41, xPASS, yPASS, (Level_TTRIS / 10), police_TTRIS) |
          blitzSprite_TTRIS(114, 41, xPASS, yPASS, (Level_TTRIS % 10), police_TTRIS));
}

void INIT_ALL_VAR_TTRIS(void)
{
	unsigned char y = 0, x = 0;
  for (y = 0; y < 3; y++)
  {
    for (x = 0; x < 12; x++)
    {
      Grid_TTRIS[x][y] = 0;
    }
  }
  for (y = 0; y < 5; y++)
  {
    for (x = 0; x < 5; x++)
    {
      Piece_Mat2_TTRIS[x][y] = 0;
    }
  }
  LONG_PRESS_X_TTRIS = 0;
  DOWN_DESACTIVE_TTRIS = 0;
  DROP_SPEED_TTRIS = 0;
  SPEED_x_trig_TTRIS = 0;
  DROP_TRIG_TTRIS = 1;
  xx_TTRIS = 0;
  yy_TTRIS = 0;
  Ripple_filter_TTRIS = 0;
  PIECEs_TTRIS = 0;
  PIECEs_TTRIS_PREVIEW = 0;
  PIECEs_rot_TTRIS = 0;
  DROP_BREAK_TTRIS = 0;
  OU_SUIS_JE_X_TTRIS = 0;
  OU_SUIS_JE_Y_TTRIS = 0;
  OU_SUIS_JE_X_ENGAGED_TTRIS = 0;
  OU_SUIS_JE_Y_ENGAGED_TTRIS = 0;
  DEPLACEMENT_XX_TTRIS = 0;
  DEPLACEMENT_YY_TTRIS = 0;
}

#define Number_of_Backup 4

void recupe_HIGHSCORE_TTRIS(void)
{

  Reset_Value_TTRIS();
}

void Reset_Value_TTRIS(void)
{
  Level_TTRIS = 0;
  Nb_of_line_F_TTRIS = 0;
  Scores_TTRIS = 0;
}

void save_HIGHSCORE_TTRIS(void)
{

}

void Check_NEW_RECORD(void)
{

}

unsigned char checksum(unsigned char Byte_)
{
  unsigned char Total_ = 0;
  unsigned char t = 0;
  for (t = 0; t < 8; t++)
  {
    if ((Byte_) & (0x01 << t))
    {
      Total_++;
    }
  }
  return Total_;
}
/* USER CODE END 4 */

void Error_Handler(void)
{
  __disable_irq();
  while (1)
  {
  }
}
